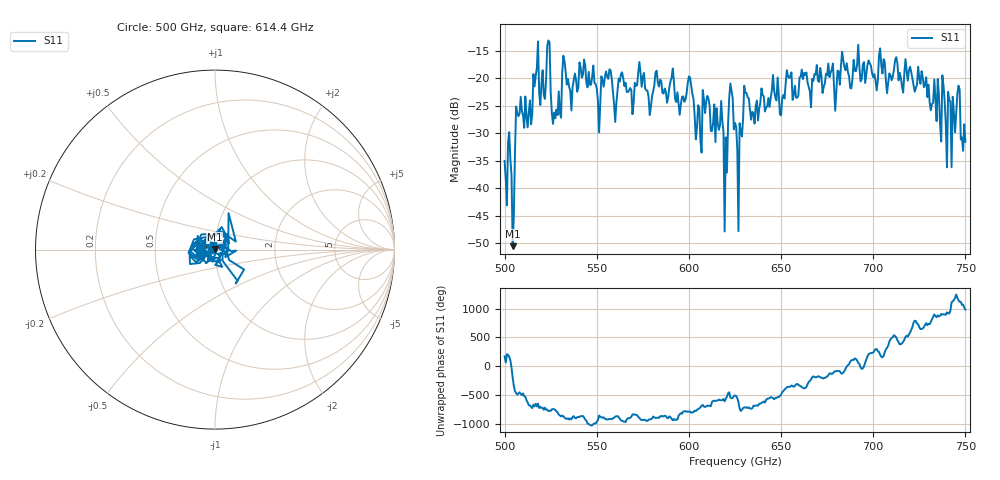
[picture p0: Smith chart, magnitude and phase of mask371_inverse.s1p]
!Created with skrf (http://scikit-rf.org).
# GHz S MA R 50.0
!freq magS11 angS11
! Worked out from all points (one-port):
!   401 points, 500 GHz to 750 GHz, reference 50 ohm
!   lowest |S11| = -50.5 dB at 504.4 GHz (marker M1), VSWR 1.01, Z = 49.7 + j0.112 ohm
!   |S11| at or under -10 dB: start of sweep to end of sweep
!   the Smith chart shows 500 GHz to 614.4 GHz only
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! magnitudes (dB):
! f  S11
! 500 GHz  -35.0
! 504.4 GHz  -50.5
! 507.5 GHz  -26.9
! 513.8 GHz  -24.0
! 516.9 GHz  -19.5
! 520.6 GHz  -18.5
! 523.8 GHz  -13.1
! 526.9 GHz  -26.2
! 531.2 GHz  -19.0
! 560 GHz  -27.9
! 562.5 GHz  -20.6
! 593.8 GHz  -22.5
! 600.6 GHz  -19.8
! 605.6 GHz  -25.3
! 608.8 GHz  -26.3
! 617.5 GHz  -24.1
! 620 GHz  -30.7
! 622.5 GHz  -20.9
! 625 GHz  -28.1
! 627.5 GHz  -28.2
! 631.2 GHz  -22.7
! 634.4 GHz  -26.1
! 656.2 GHz  -23.9
! 687.5 GHz  -21.7
! 718.8 GHz  -20.4
! 741.2 GHz  -23.9
! 745.6 GHz  -22.9
! 750 GHz  -31.5
